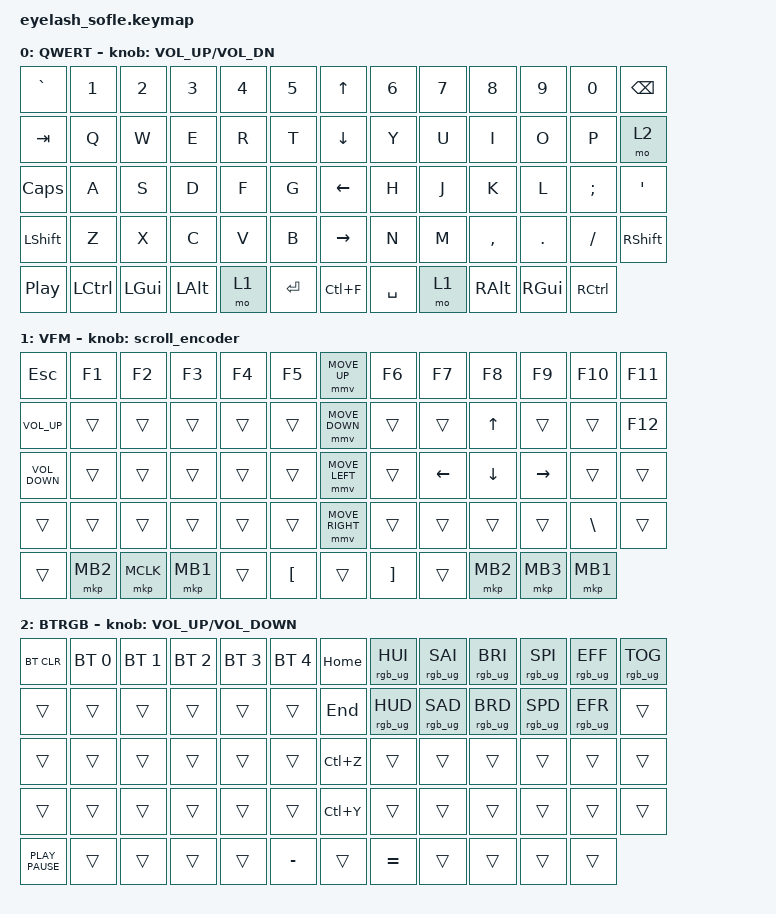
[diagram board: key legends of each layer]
#define ZMK_POINTING_DEFAULT_MOVE_VAL 1200  // 600
#define ZMK_POINTING_DEFAULT_SCRL_VAL 25   // 10

#include <input/processors.dtsi>
#include <zephyr/dt-bindings/input/input-event-codes.h>
#include <behaviors.dtsi>
#include <dt-bindings/zmk/bt.h>
#include <dt-bindings/zmk/keys.h>
#include <dt-bindings/zmk/pointing.h>
#include <dt-bindings/zmk/rgb.h>

&mmv_input_listener { input-processors = <&zip_xy_scaler 2 1>; };

&msc_input_listener { input-processors = <&zip_scroll_scaler 2 1>; };

&msc {
    acceleration-exponent = <1>;      // 0
    time-to-max-speed-ms = <100>;       // 300
    delay-ms = <0>;                   // 0
};

&mmv {
    time-to-max-speed-ms = <500>;
    acceleration-exponent = <1>;
    trigger-period-ms = <16>;
};

/ {
    scroll_encoder: scroll_encoder {
        compatible = "zmk,behavior-sensor-rotate";
        #sensor-binding-cells = <0>;
        bindings = <&msc SCRL_DOWN>, <&msc SCRL_UP>;

        tap-ms = <100>;
    };

    behaviors {
    };

    keymap {
        compatible = "zmk,keymap";

        QWERT {
            bindings = <
&kp GRAVE         &kp N1     &kp N2        &kp N3        &kp N4  &kp N5       &kp UP_ARROW     &kp N6     &kp N7  &kp N8         &kp N9         &kp N0     &kp BACKSPACE
&kp TAB           &kp Q      &kp W         &kp E         &kp R   &kp T        &kp DOWN_ARROW   &kp Y      &kp U   &kp I          &kp O          &kp P      &mo 2
&kp CAPS          &kp A      &kp S         &kp D         &kp F   &kp G        &kp LEFT_ARROW   &kp H      &kp J   &kp K          &kp L          &kp SEMI   &kp APOS
&kp LSHFT         &kp Z      &kp X         &kp C         &kp V   &kp B        &kp RIGHT_ARROW  &kp N      &kp M   &kp COMMA      &kp DOT        &kp FSLH   &kp RIGHT_SHIFT
&kp C_PLAY_PAUSE  &kp LCTRL  &kp LEFT_GUI  &kp LEFT_ALT  &mo 1   &kp ENTER    &kp LC(F)        &kp SPACE  &mo 1   &kp RIGHT_ALT  &kp RIGHT_GUI  &kp RCTRL
            >;

            sensor-bindings = <&inc_dec_kp C_VOLUME_UP C_VOL_DN>;
            display-name = "QWERT";
        };

        VOFM {
            bindings = <
&kp ESCAPE         &kp F1    &kp F2     &kp F3    &kp F4  &kp F5              &mmv MOVE_UP     &kp F6             &kp F7    &kp F8    &kp F9     &kp F10        &kp F11
&kp C_VOLUME_UP    &trans    &trans     &trans    &trans  &trans              &mmv MOVE_DOWN   &trans             &trans    &kp UP    &trans     &trans         &kp F12
&kp C_VOLUME_DOWN  &trans    &trans     &trans    &trans  &trans              &mmv MOVE_LEFT   &trans             &kp LEFT  &kp DOWN  &kp RIGHT  &trans         &trans
&trans             &trans    &trans     &trans    &trans  &trans              &mmv MOVE_RIGHT  &trans             &trans    &trans    &trans     &kp BACKSLASH  &trans
&trans             &mkp MB2  &mkp MCLK  &mkp MB1  &trans  &kp LEFT_BRACKET    &trans           &kp RIGHT_BRACKET  &trans    &mkp MB2  &mkp MB3   &mkp MB1
            >;

            display-name = "VFM";
            sensor-bindings = <&scroll_encoder>;
        };

        BTRGB {
            bindings = <
&bt BT_CLR        &bt BT_SEL 0  &bt BT_SEL 1  &bt BT_SEL 2  &bt BT_SEL 3  &bt BT_SEL 4    &kp HOME   &rgb_ug RGB_HUI  &rgb_ug RGB_SAI  &rgb_ug RGB_BRI  &rgb_ug RGB_SPI  &rgb_ug RGB_EFF  &rgb_ug RGB_TOG
&trans            &trans        &trans        &trans        &trans        &trans          &kp END    &rgb_ug RGB_HUD  &rgb_ug RGB_SAD  &rgb_ug RGB_BRD  &rgb_ug RGB_SPD  &rgb_ug RGB_EFR  &trans
&trans            &trans        &trans        &trans        &trans        &trans          &kp LC(Z)  &trans           &trans           &trans           &trans           &trans           &trans
&trans            &trans        &trans        &trans        &trans        &trans          &kp LC(Y)  &trans           &trans           &trans           &trans           &trans           &trans
&kp K_PLAY_PAUSE  &trans        &trans        &trans        &trans        &kp MINUS       &trans     &kp EQUAL        &trans           &trans           &trans           &trans
            >;

            sensor-bindings = <&inc_dec_kp K_VOL_UP K_VOLUME_DOWN>;
            label = "BTRGB";
        };
    };
};
